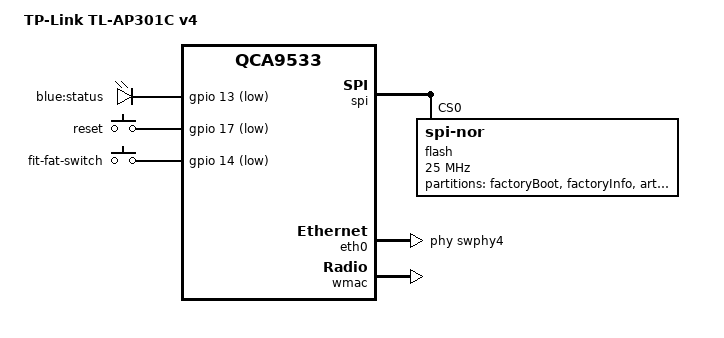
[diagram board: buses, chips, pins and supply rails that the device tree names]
// SPDX-License-Identifier: GPL-2.0-or-later OR MIT

#include "qca953x.dtsi"

#include <dt-bindings/gpio/gpio.h>
#include <dt-bindings/input/input.h>

/ {
	compatible = "tplink,tl-ap301c-v4", "qca,qca9533";
	model = "TP-Link TL-AP301C v4";

	aliases {
		led-boot = &led_status;
		led-failsafe = &led_status;
		led-running = &led_status;
		led-upgrade = &led_status;
		label-mac-device = &eth0;
	};

	leds {
		compatible = "gpio-leds";

		led_status: status {
			label = "blue:status";
			gpios = <&gpio 13 GPIO_ACTIVE_LOW>;
		};
	};

	keys {
		compatible = "gpio-keys";

		reset {
			label = "reset";
			linux,code = <KEY_RESTART>;
			gpios = <&gpio 17 GPIO_ACTIVE_LOW>;
		};

		fit-fat-switch {
			label = "fit-fat-switch";
			linux,input-type = <EV_SW>;
			linux,code = <BTN_0>;
			gpios = <&gpio 14 GPIO_ACTIVE_LOW>;
		};
	};
};

&spi {
	status = "okay";

	flash@0 {
		compatible = "jedec,spi-nor";
		reg = <0>;
		spi-max-frequency = <25000000>;

		partitions {
			compatible = "fixed-partitions";
			#address-cells = <1>;
			#size-cells = <1>;

			partition@0 {
				label = "factoryBoot";
				reg = <0x000000 0x020000>;
				read-only;
			};

			partition@20000 {
				label = "factoryInfo";
				reg = <0x020000 0x010000>;
				read-only;

				compatible = "nvmem-cells";
				#address-cells = <1>;
				#size-cells = <1>;

				macaddr_factoryInfo_4: macaddr@4 {
					reg = <0x4 0xc>;
				};
			};

			art: partition@30000 {
				label = "art";
				reg = <0x030000 0x010000>;
				read-only;
			};

			partition@40000 {
				compatible = "denx,uimage";
				label = "firmware";
				reg = <0x40000 0x7c0000>;
			};
		};
	};
};

&eth0 {
	status = "okay";

	phy-handle = <&swphy4>;

	nvmem-cells = <&macaddr_factoryInfo_4>;
	nvmem-cell-names = "mac-address-ascii";
};

&eth1 {
	compatible = "syscon", "simple-mfd";
};

&wmac {
	status = "okay";

	mtd-cal-data = <&art 0x1000>;
	nvmem-cells = <&macaddr_factoryInfo_4>;
	nvmem-cell-names = "mac-address-ascii";
};
